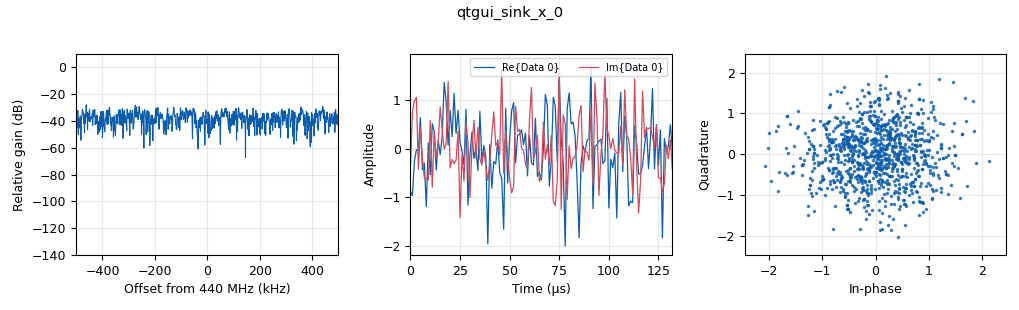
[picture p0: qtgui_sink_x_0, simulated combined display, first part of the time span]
options:
  parameters:
    author: vivelpanel
    generate_options: qt_gui
    id: pulsar_simulator
    output_language: python
    title: Not titled yet
  states: {}

blocks:
- name: center_freq
  id: variable
  parameters:
    value: 440e6
  states: {}
- name: center_freq
  id: variable
  parameters:
    value: '0'
  states: {state: disabled}
- name: f_off
  id: variable
  parameters:
    value: .1e6
  states: {state: disabled}
- name: noise
  id: variable_qtgui_range
  parameters:
    label: Noise Level (V)
    start: '0'
    step: '.1'
    stop: '1000'
    value: '15'
  states: {}
- name: 'off'
  id: variable
  parameters:
    value: '.01'
  states: {state: disabled}
- name: per
  id: variable
  parameters:
    value: '.33'
  states: {}
- name: samp_rate
  id: variable
  parameters:
    value: 1e6
  states: {}
- name: samp_rate
  id: variable
  parameters:
    value: '10000'
  states: {state: disabled}
- name: time
  id: variable_qtgui_range
  parameters:
    start: '0'
    step: '.01'
    stop: '1'
    value: '0'
  states: {state: disabled}
- name: analog_const_source_x_0
  id: analog_const_source_x
  parameters:
    const: '1'
    type: float
  states: {state: disabled}
- name: analog_fastnoise_source_x_0
  id: analog_fastnoise_source_x
  parameters:
    amp: '1'
    noise_type: analog.GR_GAUSSIAN
    samples: '8192'
    seed: '234'
    type: complex
  states: {state: disabled}
- name: analog_fastnoise_source_x_0_0
  id: analog_fastnoise_source_x
  parameters:
    amp: '.77'
    noise_type: analog.GR_GAUSSIAN
    samples: '8192'
    seed: '3872'
    type: complex
  states: {state: disabled}
- name: analog_fastnoise_source_x_0_1
  id: analog_fastnoise_source_x
  parameters:
    amp: '1'
    noise_type: analog.GR_UNIFORM
    samples: '8192'
    seed: '9'
    type: complex
  states: {state: disabled}
- name: analog_fastnoise_source_x_0_2
  id: analog_fastnoise_source_x
  parameters:
    amp: '.46'
    noise_type: analog.GR_GAUSSIAN
    samples: '8192'
    seed: '0'
    type: complex
  states: {state: disabled}
- name: analog_fastnoise_source_x_1
  id: analog_fastnoise_source_x
  parameters:
    amp: '1'
    noise_type: analog.GR_GAUSSIAN
    samples: '8192'
    seed: '0'
    type: complex
  states: {}
- name: analog_noise_source_x_0
  id: analog_noise_source_x
  parameters:
    amp: '1'
    comment: Noise
    noise_type: analog.GR_GAUSSIAN
    seed: '55555'
    type: complex
  states: {state: disabled}
- name: analog_sig_source_x_0
  id: analog_sig_source_x
  parameters:
    amp: pulse.pulsar(per, 0, time)
    freq: center_freq - (4*f_off)
    offset: '0'
    phase: '0'
    samp_rate: samp_rate
    type: complex
    waveform: analog.GR_COS_WAVE
  states: {state: disabled}
- name: analog_sig_source_x_0_0
  id: analog_sig_source_x
  parameters:
    amp: pulse.pulsar(per, 4*off, time)
    comment: Pulsar
    freq: center_freq
    offset: '0'
    phase: '0'
    samp_rate: samp_rate
    type: complex
    waveform: analog.GR_COS_WAVE
  states: {state: disabled}
- name: analog_sig_source_x_0_0_0
  id: analog_sig_source_x
  parameters:
    amp: pulse.pulsar(per, 9*off, time)
    comment: |-
      Pulsar

      For SIMPLICITY's sake,
      estimating that dispersion
      is linear and frequencies
      are discrete (even though
      this is known to be false).
    freq: center_freq + (5*f_off)
    offset: '0'
    phase: '0'
    samp_rate: samp_rate
    type: complex
    waveform: analog.GR_COS_WAVE
  states: {state: disabled}
- name: analog_sig_source_x_0_1
  id: analog_sig_source_x
  parameters:
    amp: pulse.pulsar(per, 3*off, time)
    freq: center_freq - f_off
    offset: '0'
    phase: '0'
    samp_rate: samp_rate
    type: complex
    waveform: analog.GR_COS_WAVE
  states: {state: disabled}
- name: analog_sig_source_x_0_1_0
  id: analog_sig_source_x
  parameters:
    amp: pulse.pulsar(per, 8*off, time)
    freq: center_freq + (4*f_off)
    offset: '0'
    phase: '0'
    samp_rate: samp_rate
    type: complex
    waveform: analog.GR_COS_WAVE
  states: {state: disabled}
- name: analog_sig_source_x_0_2
  id: analog_sig_source_x
  parameters:
    amp: pulse.pulsar(per, 2*off, time)
    freq: center_freq - (2*f_off)
    offset: '0'
    phase: '0'
    samp_rate: samp_rate
    type: complex
    waveform: analog.GR_COS_WAVE
  states: {state: disabled}
- name: analog_sig_source_x_0_2_0
  id: analog_sig_source_x
  parameters:
    amp: pulse.pulsar(per, 7*off, time)
    freq: center_freq + (3*f_off)
    offset: '0'
    phase: '0'
    samp_rate: samp_rate
    type: complex
    waveform: analog.GR_COS_WAVE
  states: {state: disabled}
- name: analog_sig_source_x_0_3
  id: analog_sig_source_x
  parameters:
    amp: pulse.pulsar(per, off, time)
    freq: center_freq - (3*f_off)
    offset: '0'
    phase: '0'
    samp_rate: samp_rate
    type: complex
    waveform: analog.GR_COS_WAVE
  states: {state: disabled}
- name: analog_sig_source_x_0_3_0
  id: analog_sig_source_x
  parameters:
    amp: pulse.pulsar(per, 6*off, time)
    freq: center_freq + (2*f_off)
    offset: '0'
    phase: '0'
    samp_rate: samp_rate
    type: complex
    waveform: analog.GR_COS_WAVE
  states: {state: disabled}
- name: analog_sig_source_x_0_4
  id: analog_sig_source_x
  parameters:
    amp: pulse.pulsar(per, 5*off, time)
    freq: center_freq + f_off
    offset: '0'
    phase: '0'
    samp_rate: samp_rate
    type: complex
    waveform: analog.GR_COS_WAVE
  states: {state: disabled}
- name: analog_sig_source_x_1
  id: analog_sig_source_x
  parameters:
    amp: '1'
    freq: 440e6
    offset: '0'
    phase: '0'
    samp_rate: samp_rate
    type: complex
    waveform: analog.GR_SIN_WAVE
  states: {}
- name: blocks_add_const_vxx_0
  id: blocks_add_const_vxx
  parameters:
    const: '0'
    type: complex
  states: {state: disabled}
- name: blocks_add_xx_0
  id: blocks_add_xx
  parameters:
    num_inputs: '3'
    type: complex
  states: {state: disabled}
- name: blocks_add_xx_1
  id: blocks_add_xx
  parameters:
    num_inputs: '5'
    type: complex
  states: {state: disabled}
- name: blocks_add_xx_2
  id: blocks_add_xx
  parameters:
    num_inputs: '10'
    type: complex
  states: {state: disabled}
- name: blocks_add_xx_3
  id: blocks_add_xx
  parameters:
    type: complex
  states: {}
- name: blocks_float_to_complex_0
  id: blocks_float_to_complex
  parameters: {}
  states: {state: disabled}
- name: blocks_message_debug_0
  id: blocks_message_debug
  parameters: {}
  states: {}
- name: blocks_message_strobe_0
  id: blocks_message_strobe
  parameters:
    msg: pmt.intern("TEST")
    period: '1000'
  states: {}
- name: blocks_multiply_xx_0
  id: blocks_multiply_xx
  parameters:
    type: complex
  states: {state: disabled}
- name: blocks_throttle_0
  id: blocks_throttle
  parameters:
    samples_per_second: samp_rate
    type: complex
  states: {}
- name: blocks_vector_source_x_0
  id: blocks_vector_source_x
  parameters:
    repeat: 'True'
    type: complex
    vector: ([.01] * 10000) + ([2] * 100)
  states: {state: disabled}
- name: blocks_vector_source_x_0_3
  id: blocks_vector_source_x
  parameters:
    repeat: 'True'
    type: float
    vector: np.arange(
  states: {state: disabled}
- name: channels_channel_model2_0
  id: channels_channel_model2
  parameters:
    epsilon: '1.0'
    noise_voltage: noise
    seed: int(random.random() * 10000)
    taps: 1.0 + 1.0j
  states: {state: disabled}
- name: channels_channel_model_0
  id: channels_channel_model
  parameters:
    epsilon: '1.0'
    freq_offset: '0.0'
    noise_voltage: '0.0'
    seed: '0'
    taps: '[1, ]'
  states: {state: disabled}
- name: epy_block_0
  id: epy_block
  parameters:
    _source_code: |
      """
      Embedded Python Blocks:

      Each time this file is saved, GRC will instantiate the first class it finds
      to get ports and parameters of your block. The arguments to __init__  will
      be the parameters. All of them are required to have default values!
      """

      import numpy as np
      from gnuradio import gr


      class blk(gr.sync_block):  # other base classes are basic_block, decim_block, interp_block
          """Embedded Python Block example - a simple multiply const"""

          def __init__(self, sr=1000000, per=.033):  # only default arguments here
              """arguments to this function show up as parameters in GRC"""
              gr.sync_block.__init__(
                  self,
                  name='Pulse',   # will show up in GRC
                  in_sig=[np.complex64],
                  out_sig=[np.complex64]
              )
              # if an attribute with the same name as a parameter is found,
              # a callback is registered (properties work, too).
              self.sr = sr    # sample rate
              self.per = per    # period of pulse
              self.counter = 0    # counting how many
              self.reset = (self.per + (.1 * self.sr))

          def work(self, input_items, output_items):
              """example: multiply with constant"""
              if self.counter > self.reset:
                  self.counter = 0
              
              if self.counter < self.per:
                  output_items[0][:] = 0
              elif self.counter < reset:
                  output_items[0][:] = input_items
              
              self.counter += 1
              
              return len(output_items[0])
    per: per
    sr: samp_rate
  states: {}
- name: import_0
  id: import
  parameters:
    imports: import random
  states: {}
- name: import_1
  id: import
  parameters:
    imports: import numpy as np
  states: {}
- name: note_0
  id: note
  parameters:
    comment: older, cruder way of simulating pulsar (very inexact and problematic)
    note: deprecated
  states: {}
- name: pulse
  id: epy_module
  parameters:
    source_code: |
      # this module will be imported in the into your flowgraph

      def pulsar(period, offset, time):
          return int((time - offset) % period <= .01) * .2
  states: {state: disabled}
- name: qtgui_sink_x_0
  id: qtgui_sink_x
  parameters:
    bw: samp_rate
    fc: center_freq
    fftsize: '1024'
    type: complex
  states: {}

connections:
- [analog_const_source_x_0, '0', channels_channel_model2_0, '2']
- [analog_fastnoise_source_x_0, '0', blocks_add_xx_1, '0']
- [analog_fastnoise_source_x_0_0, '0', blocks_add_xx_1, '3']
- [analog_fastnoise_source_x_0_1, '0', blocks_add_const_vxx_0, '0']
- [analog_fastnoise_source_x_0_2, '0', blocks_add_xx_1, '2']
- [analog_fastnoise_source_x_1, '0', blocks_add_xx_3, '0']
- [analog_noise_source_x_0, '0', blocks_add_xx_1, '4']
- [analog_sig_source_x_0, '0', blocks_add_xx_2, '0']
- [analog_sig_source_x_0_0, '0', blocks_add_xx_2, '4']
- [analog_sig_source_x_0_0_0, '0', blocks_add_xx_2, '9']
- [analog_sig_source_x_0_1, '0', blocks_add_xx_2, '3']
- [analog_sig_source_x_0_1_0, '0', blocks_add_xx_2, '8']
- [analog_sig_source_x_0_2, '0', blocks_add_xx_2, '2']
- [analog_sig_source_x_0_2_0, '0', blocks_add_xx_2, '7']
- [analog_sig_source_x_0_3, '0', blocks_add_xx_2, '1']
- [analog_sig_source_x_0_3_0, '0', blocks_add_xx_2, '6']
- [analog_sig_source_x_0_4, '0', blocks_add_xx_2, '5']
- [analog_sig_source_x_1, '0', blocks_multiply_xx_0, '0']
- [analog_sig_source_x_1, '0', channels_channel_model2_0, '0']
- [analog_sig_source_x_1, '0', channels_channel_model_0, '0']
- [analog_sig_source_x_1, '0', epy_block_0, '0']
- [blocks_add_const_vxx_0, '0', blocks_add_xx_1, '1']
- [blocks_add_xx_0, '0', blocks_throttle_0, '0']
- [blocks_add_xx_1, '0', blocks_add_xx_0, '1']
- [blocks_add_xx_2, '0', blocks_add_xx_0, '0']
- [blocks_add_xx_3, '0', blocks_throttle_0, '0']
- [blocks_float_to_complex_0, '0', blocks_multiply_xx_0, '1']
- [blocks_multiply_xx_0, '0', blocks_add_xx_3, '1']
- [blocks_throttle_0, '0', qtgui_sink_x_0, '0']
- [blocks_vector_source_x_0, '0', blocks_float_to_complex_0, '0']
- [blocks_vector_source_x_0, '0', blocks_multiply_xx_0, '1']
- [blocks_vector_source_x_0_3, '0', channels_channel_model2_0, '1']
- [channels_channel_model2_0, '0', blocks_add_xx_0, '0']
- [channels_channel_model2_0, '0', blocks_throttle_0, '0']
- [channels_channel_model_0, '0', blocks_throttle_0, '0']
- [epy_block_0, '0', blocks_add_xx_3, '1']

metadata:
  file_format: 1
